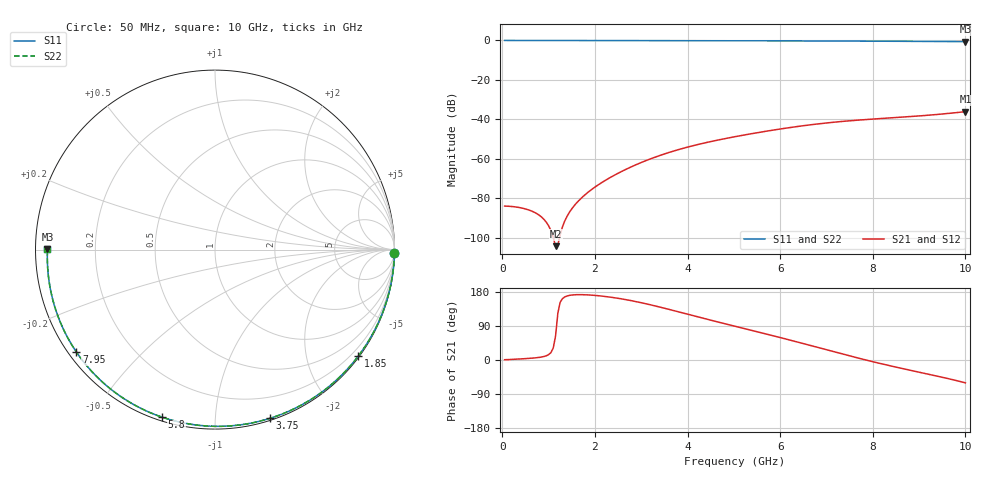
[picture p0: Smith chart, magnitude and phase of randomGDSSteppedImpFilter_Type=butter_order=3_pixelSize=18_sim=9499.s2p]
! freq	dB(S11)	phase(S11)	dB(S12)	phase(S12)
!  dB(S21)	phase(S21)	dB(S22)	phase(S22)
!S-par simulation data
#  GHz  S  DB  R 50
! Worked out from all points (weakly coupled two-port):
!   200 points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, 50 MHz to 10 GHz, reference 50 ohm
!   highest |S21| = -36.04 dB at 10 GHz (marker M1); lowest = -104.1 dB at 1.15 GHz (marker M2)
!   lowest |S11| = -0.6 dB at 10 GHz (marker M3), VSWR 29.04, Z = 1.72 + j0.0221 ohm
!   |S11| at or under -10 dB: nowhere
!   |S22| runs from -0.6 to 0.0 dB; largest |S21 - S12| = 0
!   S11 on the Smith chart (normalised r, x): 50 MHz: open; 1.85 GHz: 0.03, -3.03; 3.75 GHz: 0.02, -1.38; 5.8 GHz: 0.02, -0.73; 7.95 GHz: 0.02, -0.33; 10 GHz: 0.03, +0.00
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0.05  -0.00 -1.0  -83.85 0.8  -83.85 0.8  -0.00 -1.0
0.6  -0.01 -12.0  -86.05 4.5  -86.05 4.5  -0.01 -12.0
1.15  -0.03 -22.9  -104.15 63.0  -104.15 63.0  -0.03 -22.9
1.7  -0.04 -33.6  -79.95 172.4  -79.95 172.4  -0.04 -33.6
1.75  -0.04 -34.6  -78.87 172.3  -78.87 172.3  -0.04 -34.6
1.85  -0.05 -36.5  -76.88 171.8  -76.88 171.8  -0.05 -36.5
2.15  -0.05 -42.3  -71.91 168.7  -71.91 168.7  -0.05 -42.3
2.55  -0.06 -49.9  -66.63 161.8  -66.63 161.8  -0.06 -49.9
2.95  -0.07 -57.4  -62.29 152.5  -62.29 152.5  -0.07 -57.4
3.4  -0.09 -65.7  -58.25 139.7  -58.25 139.7  -0.09 -65.6
3.75  -0.10 -72.0  -55.63 128.9  -55.63 128.9  -0.10 -72.0
4.35  -0.12 -82.7  -51.98 109.8  -51.98 109.8  -0.12 -82.7
5.05  -0.15 -94.8  -48.60 88.3  -48.60 88.3  -0.15 -94.8
5.8  -0.18 -107.5  -45.56 65.5  -45.56 65.5  -0.18 -107.5
6.25  -0.21 -115.1  -43.96 51.4  -43.96 51.4  -0.21 -115.1
6.7  -0.24 -122.6  -42.57 36.8  -42.57 36.8  -0.24 -122.6
7.3  -0.29 -132.6  -41.08 17.2  -41.08 17.2  -0.29 -132.6
7.95  -0.35 -143.5  -39.88 -3.0  -39.88 -3.0  -0.35 -143.5
8.35  -0.40 -150.3  -39.26 -14.6  -39.26 -14.6  -0.40 -150.3
9.2  -0.50 -165.2  -37.85 -37.5  -37.85 -37.5  -0.50 -165.2
9.6  -0.55 -172.5  -37.02 -48.3  -37.02 -48.3  -0.55 -172.5
10  -0.60 179.9  -36.04 -60.3  -36.04 -60.3  -0.60 179.9
